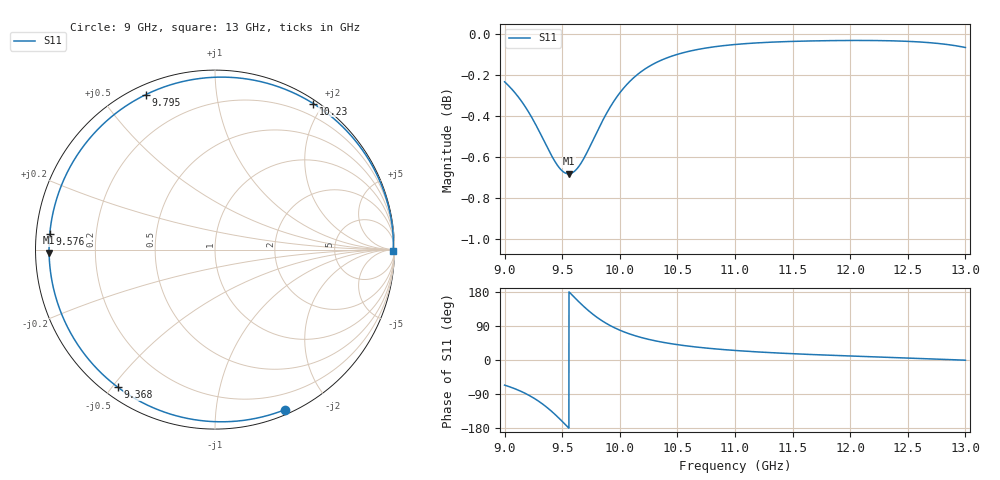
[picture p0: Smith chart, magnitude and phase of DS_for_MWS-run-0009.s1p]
! TOUCHSTONE file generated by CST DESIGN STUDIO
! Date and time: Tue Feb  4 15:41:47 2025
! Project name: C:\Work\MatlabApps\UnitCellOptimizationMatlab\CST\unitcell.cst
! Tree item: Tasks\Sweep1\SPara1\S-Parameters
! Header version: 2024
! Port assignment regex: !\s*Touchstone port\s*([0-9]+)\s*=\s*(CST MWS port|CST DES external port|CST DES block port)\s*(.+)\s* \(\"(.*)\"\)(\s*mode\s*([0-9]+))?.*
! Touchstone port assignment:
! Touchstone port 1 = CST DES external port 1 ("")
# GHz S MA R 50
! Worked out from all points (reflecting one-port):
!   4001 points, 9 GHz to 13 GHz, reference 50 ohm
!   lowest |S11| = -0.7 dB at 9.555 GHz (marker M1), VSWR 25.52, Z = 1.96 - j0.454 ohm
!   phase of S11 starts at -66 deg and turns -294 deg over the sweep
!   S11 on the Smith chart (normalised r, x): 9 GHz: 0.04, -1.53; 9.368 GHz: 0.04, -0.52; 9.576 GHz: 0.04, +0.05; 9.795 GHz: 0.04, +0.65; 10.23 GHz: 0.04, +1.88; 13 GHz: open
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9  0.9734 -66.3
9.042  0.9708 -70.5
9.108  0.9661 -78.2
9.221  0.9558 -94.8
9.299  0.947 -109.5
9.368  0.9387 -125.2
9.432  0.9315 -142.0
9.5  0.9261 -161.9
9.555  0.9246 -179.0
9.576  0.9248 174.5
9.63  0.9273 157.9
9.691  0.9329 140.2
9.742  0.939 126.7
9.795  0.9457 114.1
9.839  0.9511 104.8
9.886  0.9565 96.0
9.939  0.962 87.3
10  0.9674 78.7
10.108  0.9749 66.4
10.229  0.9809 56.0
10.354  0.9851 47.8
10.5  0.9885 40.5
10.721  0.9917 32.4
11  0.994 25.2
11.5  0.9957 16.6
12  0.9962 10.6
12.5  0.9957 5.5
13  0.9923 -0.6
